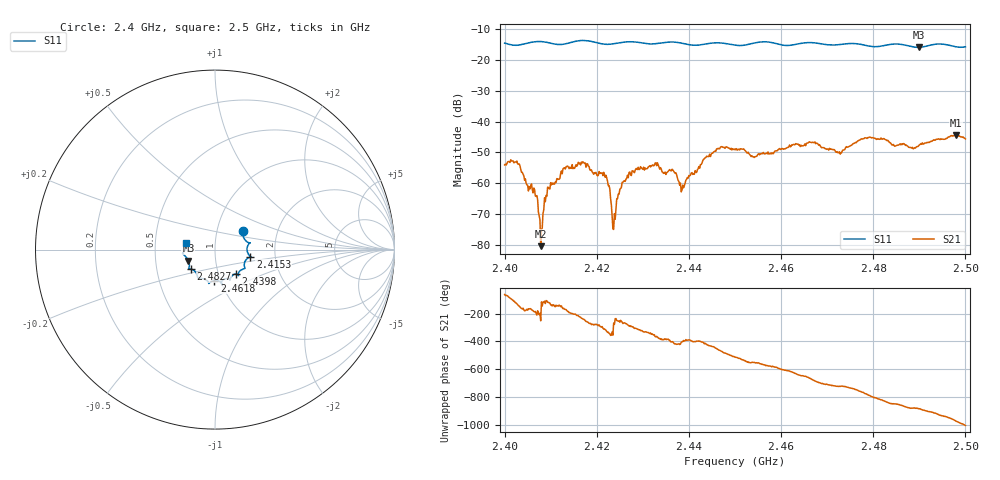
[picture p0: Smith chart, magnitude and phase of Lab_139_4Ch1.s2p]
# Hz S RI R 50
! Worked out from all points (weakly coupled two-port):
!   601 points, 2.4 GHz to 2.5 GHz, reference 50 ohm
!   highest |S21| = -44.34 dB at 2.498 GHz (marker M1); lowest = -80.4 dB at 2.4078 GHz (marker M2)
!   lowest |S11| = -15.9 dB at 2.4898 GHz (marker M3), VSWR 1.38, Z = 36.8 - j4.61 ohm
!   |S11| at or under -10 dB: start of sweep to end of sweep
!   S12 and S22 are empty: the file has one direction only
!   S11 on the Smith chart (normalised r, x): 2.4 GHz: 1.33, +0.29; 2.4153 GHz: 1.48, -0.12; 2.4398 GHz: 1.21, -0.34; 2.4618 GHz: 0.94, -0.33; 2.4827 GHz: 0.75, -0.17; 2.5 GHz: 0.72, +0.06
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2.4e9  0.1552 0.1064  0.000893 -0.00178  0 0  0 0
2.403e9  0.1639 0.059  -0.00164 -0.00124  0 0  0 0
2.406667e9  0.1947 0.0377  -0.000622 5.73e-05  0 0  0 0
2.407833e9  0.1954 0.0381  -2.88e-05 9.11e-05  0 0  0 0
2.409833e9  0.1865 0.0285  -0.000477 -0.000658  0 0  0 0
2.415333e9  0.1969 -0.0388  -0.0017 0.000748  0 0  0 0
2.416667e9  0.2028 -0.043  -0.00129 0.00179  0 0  0 0
2.421833e9  0.1689 -0.0624  0.000895 0.000875  0 0  0 0
2.423667e9  0.1629 -0.0847  -4.44e-06 0.000178  0 0  0 0
2.426833e9  0.1684 -0.1037  0.000296 0.00119  0 0  0 0
2.433333e9  0.1299 -0.1339  0.00193 -0.000474  0 0  0 0
2.4385e9  0.1259 -0.1385  0.00057 -0.000531  0 0  0 0
2.439833e9  0.1153 -0.1361  0.00103 -0.000632  0 0  0 0
2.45e9  0.0651 -0.1615  -0.00325 -0.00158  0 0  0 0
2.461833e9  -0.00301 -0.1727  -0.00111 0.00404  0 0  0 0
2.466667e9  -0.0346 -0.1883  0.00319 0.00328  0 0  0 0
2.472667e9  -0.0777 -0.1602  0.00325 -0.000235  0 0  0 0
2.482667e9  -0.135 -0.1088  -0.00213 -0.00464  0 0  0 0
2.483333e9  -0.1401 -0.1085  -0.00265 -0.00399  0 0  0 0
2.489833e9  -0.1483 -0.0609  -0.00393 -0.000994  0 0  0 0
2.498e9  -0.1637 0.00526  -0.00139 0.00591  0 0  0 0
2.5e9  -0.1591 0.0389  0.00146 0.00504  0 0  0 0
